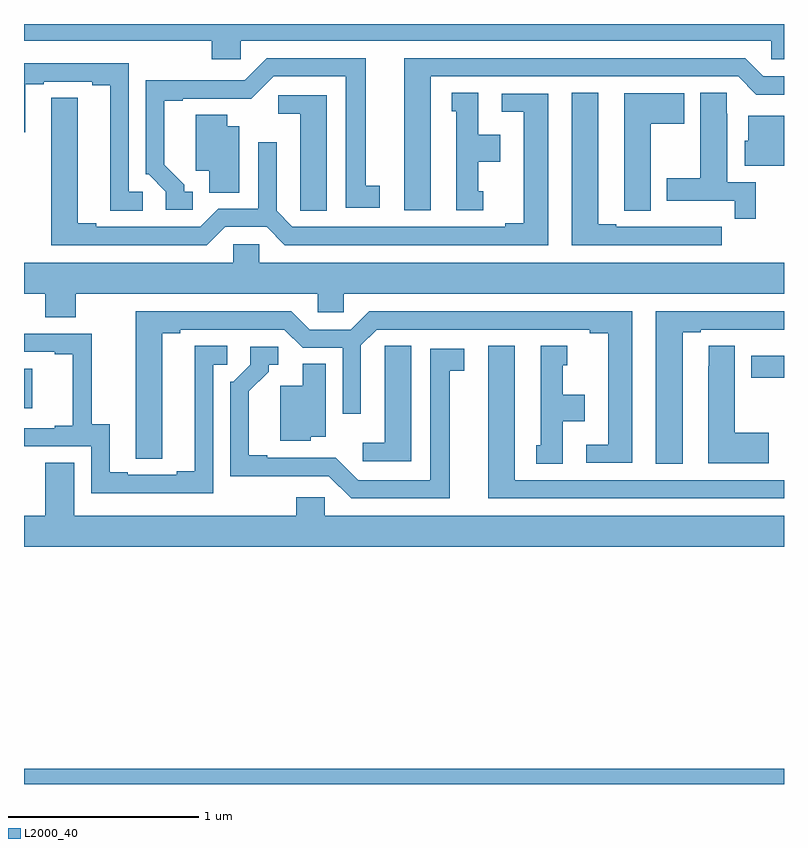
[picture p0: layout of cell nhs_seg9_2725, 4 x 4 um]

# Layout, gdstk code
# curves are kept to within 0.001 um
import gdstk
lib = gdstk.Library(unit=1e-6, precision=1e-09)
def R(c, l, rs):  # rectangles x0, y0, x1, y1
    for r in rs: c.add(gdstk.rectangle(r[:2], r[2:], *l))
def P(c, l, *ps):  # polygons
    for p in ps: c.add(gdstk.Polygon(p, *l))
L2000_40 = (2000, 40)

nhs_seg9_2725 = lib.new_cell('nhs_seg9_2725')
R(nhs_seg9_2725, L2000_40, [(267,1200.5,271,1200.58), (267,1202.477,267.043,1202.686), (270.827,1202.638,271,1202.754)])
P(nhs_seg9_2725, L2000_40, [(268.14,1204.412),(270.933,1204.412),(270.933,1204.314),(271,1204.314),(271,1204.5),(267,1204.5),(267,1204.412),(267.989,1204.412),(267.989,1204.314),(268.14,1204.314)],
  [(267.889,1203.618),(267.844,1203.618),(267.844,1203.653),(267.739,1203.758),(267.739,1204.095),(267.835,1204.095),(267.835,1204.107),(268.196,1204.106),(268.314,1204.224),(268.694,1204.224),(268.694,1203.534),(268.873,1203.534),(268.873,1203.65),(268.798,1203.65),(268.798,1204.32),(268.278,1204.32),(268.161,1204.203),(267.905,1204.203),(267.905,1204.205),(267.642,1204.205),(267.642,1203.708),(267.657,1203.708),(267.747,1203.618),(267.747,1203.522),(267.889,1203.522)],
  [(269.14,1204.224),(270.759,1204.224),(270.855,1204.128),(271,1204.128),(271,1204.224),(270.891,1204.224),(270.795,1204.32),(269,1204.32),(269,1203.519),(269.14,1203.519)],
  [(267.625,1203.618),(267.552,1203.618),(267.552,1204.293),(267,1204.293),(267,1203.931),(267.007,1203.931),(267.007,1204.182),(267.103,1204.182),(267.103,1204.197),(267.359,1204.197),(267.359,1204.177),(267.455,1204.177),(267.455,1203.517),(267.625,1203.517)],
  [(270.673,1203.432),(270.56,1203.432),(270.56,1203.433),(270.394,1203.433),(270.394,1203.432),(270.118,1203.432),(270.118,1203.447),(270.022,1203.447),(270.022,1204.139),(269.882,1204.139),(269.882,1203.336),(270.673,1203.336)],
  [(270.851,1203.666),(270.7,1203.666),(270.7,1204.028),(270.699,1204.028),(270.699,1204.139),(270.56,1204.139),(270.56,1203.687),(270.383,1203.687),(270.383,1203.57),(270.742,1203.57),(270.742,1203.474),(270.851,1203.474)],
  [(269.416,1203.621),(269.392,1203.621),(269.392,1203.776),(269.506,1203.776),(269.506,1203.916),(269.392,1203.916),(269.392,1204.139),(269.252,1204.139),(269.252,1204.041),(269.276,1204.041),(269.276,1203.519),(269.416,1203.519)],
  [(270.298,1203.976),(270.475,1203.976),(270.475,1204.135),(270.158,1204.135),(270.158,1203.625),(270.159,1203.625),(270.159,1203.517),(270.298,1203.517)],
  [(268.059,1203.432),(268.277,1203.432),(268.373,1203.336),(269.758,1203.336),(269.758,1204.134),(269.514,1204.134),(269.514,1204.038),(269.63,1204.038),(269.63,1203.452),(269.534,1203.452),(269.534,1203.432),(268.413,1203.432),(268.329,1203.516),(268.329,1203.877),(268.233,1203.877),(268.233,1203.528),(268.023,1203.528),(267.927,1203.432),(267.379,1203.432),(267.379,1203.452),(267.283,1203.452),(267.283,1204.112),(267.144,1204.112),(267.143,1203.336),(267.963,1203.336)],
  [(268.594,1204.125),(268.338,1204.125),(268.338,1204.028),(268.454,1204.028),(268.454,1203.625),(268.455,1203.625),(268.455,1203.517),(268.594,1203.517)],
  [(268.132,1203.961),(268.069,1203.961),(268.069,1204.022),(267.905,1204.022),(267.905,1203.728),(267.974,1203.728),(267.974,1203.613),(268.132,1203.613)],
  [(271,1204.018),(270.812,1204.018),(270.812,1203.885),(270.794,1203.885),(270.794,1203.755),(271,1203.755)],
  [(267.273,1203.08),(268.545,1203.08),(268.545,1202.982),(268.683,1202.982),(268.683,1203.08),(271,1203.08),(271,1203.244),(268.239,1203.244),(268.239,1203.342),(268.101,1203.342),(268.101,1203.244),(267,1203.244),(267,1203.08),(267.113,1203.08),(267.113,1202.956),(267.273,1202.956)],
  [(270.466,1202.877),(270.562,1202.877),(270.562,1202.892),(270.838,1202.892),(270.838,1202.891),(271,1202.891),(271,1202.988),(270.326,1202.988),(270.326,1202.185),(270.466,1202.185)],
  [(270.202,1202.988),(268.817,1202.988),(268.721,1202.892),(268.503,1202.892),(268.407,1202.988),(267.587,1202.988),(267.588,1202.212),(267.727,1202.212),(267.727,1202.872),(267.823,1202.872),(267.823,1202.892),(268.371,1202.892),(268.467,1202.796),(268.677,1202.796),(268.677,1202.448),(268.773,1202.448),(268.773,1202.808),(268.857,1202.892),(269.978,1202.892),(269.978,1202.872),(270.074,1202.872),(270.074,1202.286),(269.958,1202.286),(269.958,1202.19),(270.202,1202.19)],
  [(267.996,1202.706),(268.069,1202.706),(268.069,1202.807),(267.899,1202.807),(267.899,1202.147),(267.803,1202.147),(267.803,1202.127),(267.547,1202.127),(267.547,1202.142),(267.451,1202.142),(267.451,1202.393),(267.357,1202.393),(267.357,1202.871),(267,1202.871),(267,1202.775),(267.161,1202.775),(267.161,1202.763),(267.257,1202.763),(267.257,1202.386),(267.161,1202.386),(267.161,1202.373),(267,1202.373),(267,1202.277),(267.354,1202.277),(267.354,1202.031),(267.996,1202.031)],
  [(269.038,1202.807),(268.899,1202.807),(268.899,1202.699),(268.898,1202.699),(268.898,1202.296),(268.782,1202.296),(268.782,1202.199),(269.038,1202.199)],
  [(270.919,1202.349),(270.742,1202.349),(270.742,1202.807),(270.603,1202.807),(270.603,1202.699),(270.602,1202.699),(270.602,1202.189),(270.919,1202.189)],
  [(271,1202.1),(269.584,1202.1),(269.584,1202.806),(269.444,1202.806),(269.444,1202.004),(271,1202.004)],
  [(269.836,1202.408),(269.95,1202.408),(269.95,1202.548),(269.836,1202.548),(269.836,1202.703),(269.86,1202.703),(269.86,1202.806),(269.72,1202.806),(269.72,1202.283),(269.696,1202.283),(269.696,1202.185),(269.836,1202.185)],
  [(269.242,1202.674),(269.317,1202.674),(269.317,1202.79),(269.138,1202.79),(269.138,1202.1),(268.758,1202.1),(268.641,1202.217),(268.279,1202.217),(268.279,1202.23),(268.183,1202.23),(268.183,1202.566),(268.288,1202.671),(268.288,1202.706),(268.339,1202.706),(268.339,1202.802),(268.191,1202.802),(268.191,1202.706),(268.101,1202.616),(268.086,1202.616),(268.086,1202.12),(268.605,1202.121),(268.722,1202.004),(269.242,1202.004)],
  [(268.509,1202.327),(268.588,1202.327),(268.588,1202.711),(268.466,1202.711),(268.466,1202.596),(268.349,1202.596),(268.349,1202.306),(268.509,1202.306)],
  [(271,1201.912),(268.584,1201.912),(268.584,1202.01),(268.433,1202.01),(268.433,1201.912),(267.265,1201.912),(267.265,1202.192),(267.113,1202.192),(267.113,1201.912),(267,1201.912),(267,1201.748),(271,1201.748)])

lib.write_gds('nhs_seg9_2725.gds')
